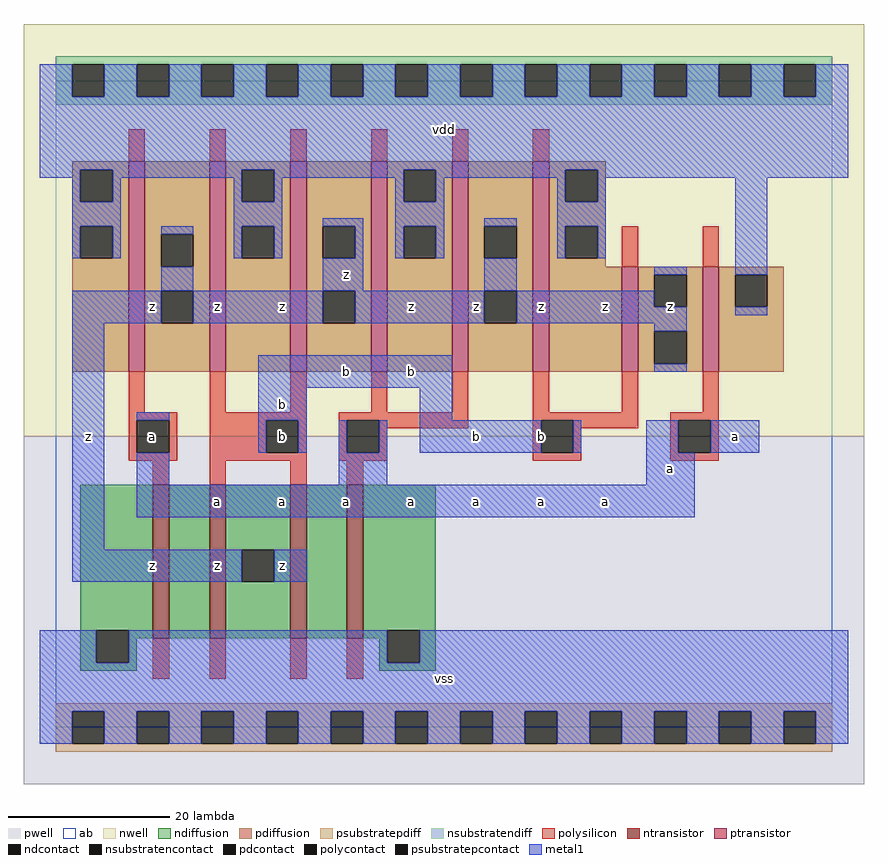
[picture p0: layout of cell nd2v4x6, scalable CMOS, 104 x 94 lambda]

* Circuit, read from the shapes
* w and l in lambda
.subckt nd2v4x6 a b vdd vss z
M1 n1 a vss vss nfet w=19 l=2
M2 z b n1 vss nfet w=19 l=2
M3 n2 b z vss nfet w=19 l=2
M4 vss a n2 vss nfet w=19 l=2
M5 z a vdd vdd pfet w=26 l=2 m=3
M6 vdd b z vdd pfet w=26 l=2 m=3
M7 z b vdd vdd pfet w=13 l=2
M8 vdd a z vdd pfet w=13 l=2
.ends

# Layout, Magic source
magic
tech scmos
<< ab >>
rect 0 0 96 80
<< pwell >>
rect -4 -7 100 36
<< nwell >>
rect -4 36 100 87
<< polysilicon >>
rect 9 70 11 74
rect 19 70 21 74
rect 29 70 31 74
rect 39 70 41 74
rect 49 70 51 74
rect 59 70 61 74
rect 70 57 72 62
rect 80 57 82 62
rect 9 39 11 44
rect 19 39 21 44
rect 29 39 31 44
rect 39 39 41 44
rect 49 39 51 44
rect 9 38 15 39
rect 9 34 10 38
rect 14 34 15 38
rect 9 33 15 34
rect 19 38 31 39
rect 19 34 26 38
rect 30 34 31 38
rect 19 33 31 34
rect 35 38 51 39
rect 35 34 36 38
rect 40 37 51 38
rect 59 39 61 44
rect 70 39 72 44
rect 80 39 82 44
rect 59 38 72 39
rect 40 34 41 37
rect 35 33 41 34
rect 59 34 60 38
rect 64 37 72 38
rect 76 38 82 39
rect 64 34 65 37
rect 59 33 65 34
rect 76 34 77 38
rect 81 34 82 38
rect 76 33 82 34
rect 12 30 14 33
rect 19 30 21 33
rect 29 30 31 33
rect 36 30 38 33
rect 12 6 14 11
rect 19 6 21 11
rect 29 6 31 11
rect 36 6 38 11
<< ndiffusion >>
rect 3 12 12 30
rect 3 8 5 12
rect 9 11 12 12
rect 14 11 19 30
rect 21 22 29 30
rect 21 18 23 22
rect 27 18 29 22
rect 21 11 29 18
rect 31 11 36 30
rect 38 12 47 30
rect 38 11 41 12
rect 9 8 10 11
rect 3 7 10 8
rect 40 8 41 11
rect 45 8 47 12
rect 40 7 47 8
<< pdiffusion >>
rect 2 69 9 70
rect 2 65 3 69
rect 7 65 9 69
rect 2 62 9 65
rect 2 58 3 62
rect 7 58 9 62
rect 2 44 9 58
rect 11 61 19 70
rect 11 57 13 61
rect 17 57 19 61
rect 11 54 19 57
rect 11 50 13 54
rect 17 50 19 54
rect 11 44 19 50
rect 21 69 29 70
rect 21 65 23 69
rect 27 65 29 69
rect 21 62 29 65
rect 21 58 23 62
rect 27 58 29 62
rect 21 44 29 58
rect 31 62 39 70
rect 31 58 33 62
rect 37 58 39 62
rect 31 54 39 58
rect 31 50 33 54
rect 37 50 39 54
rect 31 44 39 50
rect 41 69 49 70
rect 41 65 43 69
rect 47 65 49 69
rect 41 62 49 65
rect 41 58 43 62
rect 47 58 49 62
rect 41 44 49 58
rect 51 62 59 70
rect 51 58 53 62
rect 57 58 59 62
rect 51 54 59 58
rect 51 50 53 54
rect 57 50 59 54
rect 51 44 59 50
rect 61 69 68 70
rect 61 65 63 69
rect 67 65 68 69
rect 61 62 68 65
rect 61 58 63 62
rect 67 58 68 62
rect 61 57 68 58
rect 61 44 70 57
rect 72 56 80 57
rect 72 52 74 56
rect 78 52 80 56
rect 72 49 80 52
rect 72 45 74 49
rect 78 45 80 49
rect 72 44 80 45
rect 82 56 90 57
rect 82 52 84 56
rect 88 52 90 56
rect 82 44 90 52
<< metal1 >>
rect -2 78 2 82
rect 6 78 10 82
rect 14 78 18 82
rect 22 78 26 82
rect 30 78 34 82
rect 38 78 42 82
rect 46 78 50 82
rect 54 78 58 82
rect 62 78 66 82
rect 70 78 74 82
rect 78 78 82 82
rect 86 78 90 82
rect 94 78 98 82
rect -2 69 98 78
rect -2 68 3 69
rect 2 65 3 68
rect 7 68 23 69
rect 7 65 8 68
rect 2 62 8 65
rect 22 65 23 68
rect 27 68 43 69
rect 27 65 28 68
rect 22 62 28 65
rect 42 65 43 68
rect 47 68 63 69
rect 47 65 48 68
rect 2 58 3 62
rect 7 58 8 62
rect 13 61 17 62
rect 22 58 23 62
rect 27 58 28 62
rect 33 62 38 63
rect 37 58 38 62
rect 42 62 48 65
rect 62 65 63 68
rect 67 68 98 69
rect 67 65 68 68
rect 42 58 43 62
rect 47 58 48 62
rect 53 62 57 63
rect 62 62 68 65
rect 62 58 63 62
rect 67 58 68 62
rect 13 54 17 57
rect 33 54 38 58
rect 53 54 57 58
rect 74 56 78 57
rect 2 50 13 54
rect 17 50 33 54
rect 37 50 53 54
rect 57 52 74 54
rect 57 50 78 52
rect 84 56 88 68
rect 84 51 88 52
rect 2 22 6 50
rect 74 49 78 50
rect 25 42 49 46
rect 74 44 78 45
rect 10 38 14 39
rect 25 38 31 42
rect 45 38 49 42
rect 25 34 26 38
rect 30 34 31 38
rect 35 34 36 38
rect 40 34 41 38
rect 45 34 60 38
rect 64 34 65 38
rect 73 34 77 38
rect 81 34 87 38
rect 10 30 14 34
rect 35 30 41 34
rect 73 30 79 34
rect 10 26 79 30
rect 2 18 23 22
rect 27 18 31 22
rect -2 8 5 12
rect 9 8 41 12
rect 45 8 98 12
rect -2 2 98 8
rect -2 -2 2 2
rect 6 -2 10 2
rect 14 -2 18 2
rect 22 -2 26 2
rect 30 -2 34 2
rect 38 -2 42 2
rect 46 -2 50 2
rect 54 -2 58 2
rect 62 -2 66 2
rect 70 -2 74 2
rect 78 -2 82 2
rect 86 -2 90 2
rect 94 -2 98 2
<< ntransistor >>
rect 12 11 14 30
rect 19 11 21 30
rect 29 11 31 30
rect 36 11 38 30
<< ptransistor >>
rect 9 44 11 70
rect 19 44 21 70
rect 29 44 31 70
rect 39 44 41 70
rect 49 44 51 70
rect 59 44 61 70
rect 70 44 72 57
rect 80 44 82 57
<< polycontact >>
rect 10 34 14 38
rect 26 34 30 38
rect 36 34 40 38
rect 60 34 64 38
rect 77 34 81 38
<< ndcontact >>
rect 5 8 9 12
rect 23 18 27 22
rect 41 8 45 12
<< pdcontact >>
rect 3 65 7 69
rect 3 58 7 62
rect 13 57 17 61
rect 13 50 17 54
rect 23 65 27 69
rect 23 58 27 62
rect 33 58 37 62
rect 33 50 37 54
rect 43 65 47 69
rect 43 58 47 62
rect 53 58 57 62
rect 53 50 57 54
rect 63 65 67 69
rect 63 58 67 62
rect 74 52 78 56
rect 74 45 78 49
rect 84 52 88 56
<< psubstratepcontact >>
rect 2 -2 6 2
rect 10 -2 14 2
rect 18 -2 22 2
rect 26 -2 30 2
rect 34 -2 38 2
rect 42 -2 46 2
rect 50 -2 54 2
rect 58 -2 62 2
rect 66 -2 70 2
rect 74 -2 78 2
rect 82 -2 86 2
rect 90 -2 94 2
<< nsubstratencontact >>
rect 2 78 6 82
rect 10 78 14 82
rect 18 78 22 82
rect 26 78 30 82
rect 34 78 38 82
rect 42 78 46 82
rect 50 78 54 82
rect 58 78 62 82
rect 66 78 70 82
rect 74 78 78 82
rect 82 78 86 82
rect 90 78 94 82
<< psubstratepdiff >>
rect 0 2 96 3
rect 0 -2 2 2
rect 6 -2 10 2
rect 14 -2 18 2
rect 22 -2 26 2
rect 30 -2 34 2
rect 38 -2 42 2
rect 46 -2 50 2
rect 54 -2 58 2
rect 62 -2 66 2
rect 70 -2 74 2
rect 78 -2 82 2
rect 86 -2 90 2
rect 94 -2 96 2
rect 0 -3 96 -2
<< nsubstratendiff >>
rect 0 82 96 83
rect 0 78 2 82
rect 6 78 10 82
rect 14 78 18 82
rect 22 78 26 82
rect 30 78 34 82
rect 38 78 42 82
rect 46 78 50 82
rect 54 78 58 82
rect 62 78 66 82
rect 70 78 74 82
rect 78 78 82 82
rect 86 78 90 82
rect 94 78 96 82
rect 0 77 96 78
<< labels >>
rlabel metal1 12 20 12 20 6 z
rlabel polycontact 12 36 12 36 6 a
rlabel metal1 4 36 4 36 6 z
rlabel metal1 12 52 12 52 6 z
rlabel metal1 20 20 20 20 6 z
rlabel metal1 20 28 20 28 6 a
rlabel metal1 28 20 28 20 6 z
rlabel metal1 28 28 28 28 6 a
rlabel polycontact 28 36 28 36 6 b
rlabel metal1 28 40 28 40 6 b
rlabel metal1 28 52 28 52 6 z
rlabel metal1 20 52 20 52 6 z
rlabel metal1 48 6 48 6 6 vss
rlabel metal1 36 28 36 28 6 a
rlabel metal1 44 28 44 28 6 a
rlabel metal1 52 28 52 28 6 a
rlabel metal1 36 44 36 44 6 b
rlabel metal1 44 44 44 44 6 b
rlabel metal1 52 36 52 36 6 b
rlabel metal1 44 52 44 52 6 z
rlabel metal1 52 52 52 52 6 z
rlabel metal1 36 56 36 56 6 z
rlabel metal1 48 74 48 74 6 vdd
rlabel metal1 60 28 60 28 6 a
rlabel metal1 68 28 68 28 6 a
rlabel metal1 76 32 76 32 6 a
rlabel metal1 60 36 60 36 6 b
rlabel metal1 68 52 68 52 6 z
rlabel metal1 76 52 76 52 6 z
rlabel metal1 60 52 60 52 6 z
rlabel metal1 84 36 84 36 6 a
<< end >>
